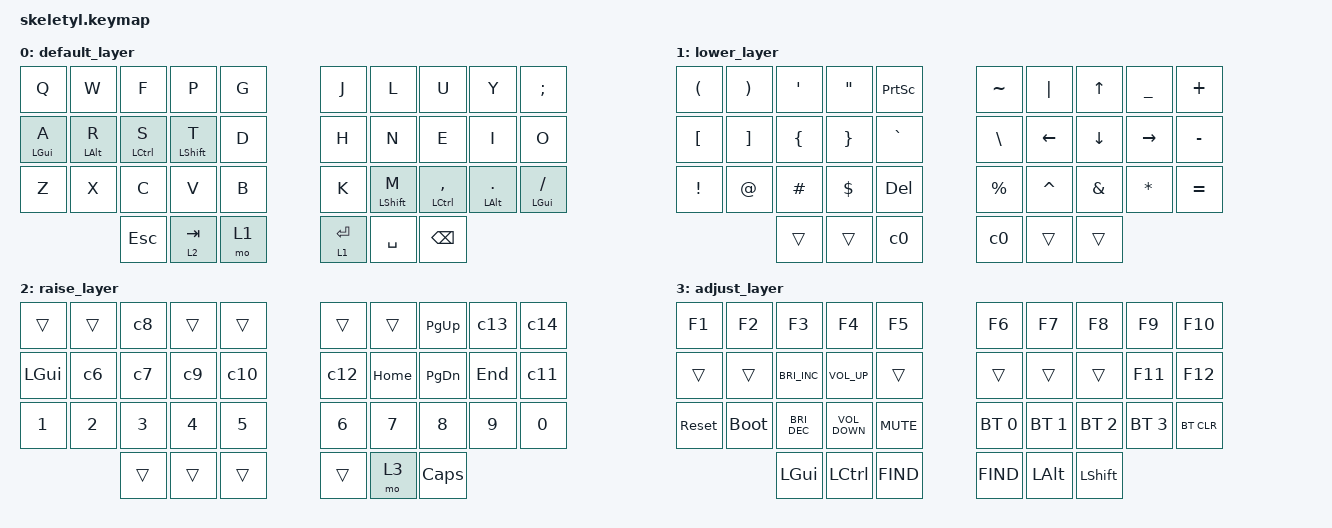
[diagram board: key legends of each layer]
/*
 * Copyright (c) 2020 The ZMK Contributors
 *
 * SPDX-License-Identifier: MIT
 */

#include <behaviors.dtsi>
#include <dt-bindings/zmk/bt.h>
#include <dt-bindings/zmk/keys.h>

&mt {
    tapping-term-ms = <200>;
    flavor = "tap-preferred";
};

/ {
    combos { compatible = "zmk,combos"; };

    behaviors {
        hm: homerow_mods {
            compatible = "zmk,behavior-hold-tap";
            label = "HOMEROW_MODS";
            #binding-cells = <2>;
            tapping-term-ms = <200>;
            quick_tap_ms = <0>;
            flavor = "tap-preferred";
            bindings = <&kp>, <&kp>;

            quick-tap-ms = <180>;
            global-quick-tap;
        };

        ltq: ltq {
            compatible = "zmk,behavior-hold-tap";
            label = "LTQ";
            bindings = <&mo>, <&kp>;

            #binding-cells = <2>;
            tapping-term-ms = <600>;
            global-quick-tap;
            quick-tap-ms = <400>;
        };

        LayerChange: LayerChange {
            compatible = "zmk,behavior-hold-tap";
            label = "LAYERCHANGE";
            bindings = <&mo>, <&to>;

            #binding-cells = <2>;
            tapping-term-ms = <200>;
        };
    };

    macros {
        c0: c0 {
            compatible = "zmk,behavior-macro";
            #binding-cells = <0>;
            bindings = <&kp LG(SPACE)>;
            label = "C0";
        };

        c8: c8 {
            compatible = "zmk,behavior-macro";
            #binding-cells = <0>;
            bindings = <&kp LG(UP_ARROW)>;
            label = "C8";
        };

        c6: c6 {
            compatible = "zmk,behavior-macro";
            #binding-cells = <0>;
            bindings = <&kp LG(LEFT)>;
            label = "C6";
        };

        c7: c7 {
            compatible = "zmk,behavior-macro";
            #binding-cells = <0>;
            bindings = <&kp LG(DOWN)>;
            label = "C7";
        };

        c9: c9 {
            compatible = "zmk,behavior-macro";
            #binding-cells = <0>;
            bindings = <&kp LG(RIGHT)>;
            label = "C9";
        };

        c10: c10 {
            compatible = "zmk,behavior-macro";
            #binding-cells = <0>;
            bindings = <&kp LG(F)>;
            label = "C10";
        };

        c11: c11 {
            compatible = "zmk,behavior-macro";
            #binding-cells = <0>;
            bindings = <&kp LG(MINUS)>;
            label = "C11";
        };

        c12: c12 {
            compatible = "zmk,behavior-macro";
            #binding-cells = <0>;
            bindings = <&kp LG(EQUAL)>;
            label = "C12";
        };

        c13: c13 {
            compatible = "zmk,behavior-macro";
            #binding-cells = <0>;
            bindings = <&kp LG(UNDERSCORE)>;
            label = "C13";
        };

        c14: c14 {
            compatible = "zmk,behavior-macro";
            #binding-cells = <0>;
            bindings = <&kp LG(PLUS)>;
            label = "C14";
        };
    };

    keymap {
        compatible = "zmk,keymap";

        default_layer {
            bindings = <
&kp Q                       &kp W                      &kp F               &kp P        &kp G        &kp J                     &kp L        &kp U            &kp Y             &kp SEMICOLON
&hm LEFT_GUI A              &hm LEFT_ALT R             &hm LCTRL S         &hm LSHFT T  &kp D        &kp H                     &kp N        &kp E            &kp I             &kp O
&kp Z                       &kp X                      &kp C               &kp V        &kp B        &kp K                     &hm LSHFT M  &hm LCTRL COMMA  &hm LEFT_ALT DOT  &hm LEFT_GUI SLASH
                &kp ESCAPE                  &lt 2 TAB               &mo 1               &lt 1 ENTER  &kp SPACE  &kp BACKSPACE
            >;
        };

        lower_layer {
            bindings = <
&kp LEFT_PARENTHESIS          &kp RIGHT_PARENTHESIS          &kp SINGLE_QUOTE       &kp DOUBLE_QUOTES  &kp PRINTSCREEN  &kp TILDE              &kp PIPE   &kp UP_ARROW    &kp UNDERSCORE  &kp PLUS
&kp LEFT_BRACKET              &kp RIGHT_BRACKET              &kp LEFT_BRACE         &kp RIGHT_BRACE    &kp GRAVE        &kp BACKSLASH          &kp LEFT   &kp DOWN_ARROW  &kp RIGHT       &kp MINUS
&kp EXCLAMATION               &kp AT_SIGN                    &kp HASH               &kp DOLLAR         &kp DEL          &kp PERCENT            &kp CARET  &kp AMPERSAND   &kp STAR        &kp EQUAL
                      &trans                         &trans                    &c0                     &c0              &trans         &trans
            >;
        };

        raise_layer {
            bindings = <
&trans                &trans                &c8                   &trans        &trans        &trans                      &trans        &kp PAGE_UP    &c13          &c14
&kp LEFT_GUI          &c6                   &c7                   &c9           &c10          &c12                        &kp HOME      &kp PAGE_DOWN  &kp END       &c11
&kp NUMBER_1          &kp NUMBER_2          &kp NUMBER_3          &kp NUMBER_4  &kp NUMBER_5  &kp NUMBER_6                &kp NUMBER_7  &kp NUMBER_8   &kp NUMBER_9  &kp NUMBER_0
              &trans                &trans                &trans                &trans        &mo 3         &kp CAPSLOCK
            >;
        };

        adjust_layer {
            bindings = <
&kp F1                    &kp F2                         &kp F3                            &kp F4             &kp F5      &kp F6                        &kp F7        &kp F8        &kp F9        &kp F10
&trans                    &trans                         &kp C_BRIGHTNESS_INC              &kp C_VOLUME_UP    &trans      &trans                        &trans        &trans        &kp F11       &kp F12
&sys_reset                &bootloader                    &kp C_BRIGHTNESS_DEC              &kp C_VOLUME_DOWN  &kp C_MUTE  &bt BT_SEL 0                  &bt BT_SEL 1  &bt BT_SEL 2  &bt BT_SEL 3  &bt BT_CLR
            &kp LEFT_GUI               &kp LEFT_CONTROL                        &kp K_FIND                     &kp K_FIND  &kp LEFT_ALT  &kp LEFT_SHIFT
            >;
        };
    };
};
